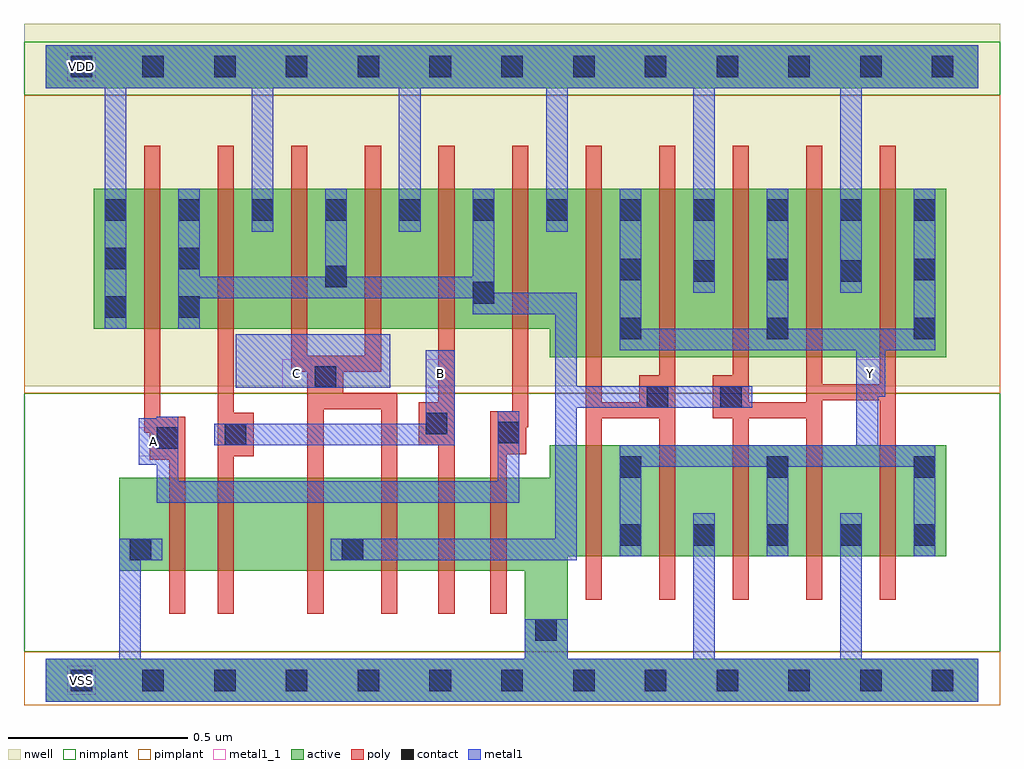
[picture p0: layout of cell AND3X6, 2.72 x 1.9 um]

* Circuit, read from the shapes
.subckt AND3X6 A B C VDD VSS Y
M1 n1 A VSS VSS nfet w=0.26u l=0.045u
M2 n2 B n1 VSS nfet w=0.26u l=0.045u
M3 n3 C n2 VSS nfet w=0.26u l=0.045u
M4 n4 C n3 VSS nfet w=0.26u l=0.045u
M5 n5 B n4 VSS nfet w=0.26u l=0.045u
M6 VSS A n5 VSS nfet w=0.26u l=0.045u
M7 Y n3 VSS VSS nfet w=0.31u l=0.045u m=5
M8 n3 A VDD VDD pfet w=0.39u l=0.045u m=2
M9 VDD B n3 VDD pfet w=0.39u l=0.045u m=2
M10 n3 C VDD VDD pfet w=0.39u l=0.045u m=2
M11 Y n3 VDD VDD pfet w=0.47u l=0.045u m=5
.ends

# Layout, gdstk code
import gdstk
lib = gdstk.Library(unit=1e-6, precision=5e-10)
def R(c, l, rs):  # rectangles x0, y0, x1, y1
    for r in rs: c.add(gdstk.rectangle(r[:2], r[2:], *l))
def A(c, l, x, y, w, h, nx, ny, dx, dy):  # array of equal rectangles
    R(c, l, [(x+i*dx, y+j*dy, x+i*dx+w, y+j*dy+h) for i in range(nx) for j in range(ny)])
def P(c, l, *ps):  # polygons
    for p in ps: c.add(gdstk.Polygon(p, *l))
active = (1, 0)
nwell = (2, 0)
poly = (3, 0)
nimplant = (4, 0)
pimplant = (5, 0)
contact = (6, 0)
metal1 = (7, 0)
metal1_1 = (7, 1)

and3x6 = lib.new_cell('AND3X6')
R(and3x6, active, [(0,1.65,2.6,1.77)])
P(and3x6, active, [(0.135,1.37),(2.51,1.37),(2.51,0.9),(1.405,0.9),(1.405,0.98),(0.135,0.98)],
  [(1.405,0.655),(2.51,0.655),(2.51,0.345),(1.455,0.345),(1.455,0.06),(2.6,0.06),(2.6,-0.06),(0,-0.06),(0,0.06),(1.335,0.06),(1.335,0.305),(0.205,0.305),(0.205,0.565),(1.405,0.565)])
R(and3x6, nwell, [(-0.06,0.82,2.66,1.83)])
P(and3x6, poly, [(0.275,1.49),(0.32,1.49),(0.32,0.735),(0.39,0.735),(0.39,0.185),(0.345,0.185),(0.345,0.615),(0.29,0.615),(0.29,0.69),(0.275,0.69)],
  [(0.48,1.49),(0.525,1.49),(0.525,0.745),(0.58,0.745),(0.58,0.625),(0.525,0.625),(0.525,0.185),(0.48,0.185)],
  [(0.685,1.49),(0.73,1.49),(0.73,0.905),(0.89,0.905),(0.89,1.49),(0.935,1.49),(0.935,0.86),(0.83,0.86),(0.83,0.8),(0.98,0.8),(0.98,0.185),(0.935,0.185),(0.935,0.755),(0.775,0.755),(0.775,0.185),(0.73,0.185),(0.73,0.86),(0.685,0.86)],
  [(1.095,1.49),(1.14,1.49),(1.14,0.185),(1.095,0.185),(1.095,0.655),(1.04,0.655),(1.04,0.775),(1.095,0.775)],
  [(1.3,1.49),(1.345,1.49),(1.345,0.705),(1.34,0.705),(1.34,0.63),(1.285,0.63),(1.285,0.185),(1.24,0.185),(1.24,0.75),(1.3,0.75)],
  [(1.505,1.49),(1.55,1.49),(1.55,0.775),(1.655,0.775),(1.655,0.85),(1.71,0.85),(1.71,1.49),(1.755,1.49),(1.755,0.225),(1.71,0.225),(1.71,0.73),(1.55,0.73),(1.55,0.225),(1.505,0.225)],
  [(1.915,1.49),(1.96,1.49),(1.96,0.775),(2.12,0.775),(2.12,1.49),(2.165,1.49),(2.165,0.825),(2.325,0.825),(2.325,1.49),(2.37,1.49),(2.37,0.225),(2.325,0.225),(2.325,0.78),(2.165,0.78),(2.165,0.225),(2.12,0.225),(2.12,0.73),(1.96,0.73),(1.96,0.225),(1.915,0.225),(1.915,0.73),(1.86,0.73),(1.86,0.85),(1.915,0.85)])
R(and3x6, nimplant, [(-0.06,0.08,2.66,0.8), (-0.06,1.63,2.66,1.78)])
R(and3x6, pimplant, [(-0.06,-0.07,2.66,0.08), (-0.06,0.8,2.66,1.63)])
A(and3x6, contact, 0.07, -0.03, 0.06, 0.06, 13, 2, 0.2, 1.71)
A(and3x6, contact, 1.6, 0.375, 0.06, 0.06, 5, 1, 0.205, 0)
A(and3x6, contact, 1.6, 0.565, 0.06, 0.06, 3, 2, 0.41, 0.385)
A(and3x6, contact, 1.6, 1.115, 0.06, 0.06, 3, 1, 0.41, 0)
A(and3x6, contact, 0.165, 1.28, 0.06, 0.06, 12, 1, 0.205, 0)
R(and3x6, contact, [(1.365,0.11,1.425,0.17), (0.235,0.335,0.295,0.395), (0.825,0.335,0.885,0.395), (0.31,0.645,0.37,0.705), (0.5,0.655,0.56,0.715), (1.26,0.66,1.32,0.72), (1.06,0.685,1.12,0.745), (1.675,0.76,1.735,0.82), (1.88,0.76,1.94,0.82), (0.75,0.815,0.81,0.875), (0.165,1.01,0.225,1.07), (0.37,1.01,0.43,1.07), (1.19,1.05,1.25,1.11), (0.78,1.095,0.84,1.155), (1.805,1.11,1.865,1.17), (2.215,1.11,2.275,1.17), (0.165,1.145,0.225,1.205), (0.37,1.145,0.43,1.205)])
R(and3x6, metal1, [(0.53,0.815,0.96,0.965)])
P(and3x6, metal1, [(0,1.77),(2.6,1.77),(2.6,1.65),(2.275,1.65),(2.275,1.08),(2.215,1.08),(2.215,1.65),(1.865,1.65),(1.865,1.08),(1.805,1.08),(1.805,1.65),(1.455,1.65),(1.455,1.25),(1.395,1.25),(1.395,1.65),(1.045,1.65),(1.045,1.25),(0.985,1.25),(0.985,1.65),(0.635,1.65),(0.635,1.25),(0.575,1.25),(0.575,1.65),(0.225,1.65),(0.225,0.98),(0.165,0.98),(0.165,1.65),(0,1.65)],
  [(0.37,1.37),(0.43,1.37),(0.43,1.125),(0.78,1.125),(0.78,1.37),(0.84,1.37),(0.84,1.125),(1.19,1.125),(1.19,1.37),(1.25,1.37),(1.25,1.08),(1.48,1.08),(1.48,0.82),(1.97,0.82),(1.97,0.76),(1.48,0.76),(1.48,0.335),(0.795,0.335),(0.795,0.395),(1.42,0.395),(1.42,1.02),(1.19,1.02),(1.19,1.065),(0.43,1.065),(0.43,0.98),(0.37,0.98)],
  [(1.6,1.37),(1.66,1.37),(1.66,0.98),(2.01,0.98),(2.01,1.37),(2.07,1.37),(2.07,0.98),(2.42,0.98),(2.42,1.37),(2.48,1.37),(2.48,0.92),(2.34,0.92),(2.34,0.79),(2.32,0.79),(2.32,0.655),(2.48,0.655),(2.48,0.345),(2.42,0.345),(2.42,0.595),(2.07,0.595),(2.07,0.345),(2.01,0.345),(2.01,0.595),(1.66,0.595),(1.66,0.345),(1.6,0.345),(1.6,0.655),(2.26,0.655),(2.26,0.92),(1.6,0.92)],
  [(1.06,0.92),(1.14,0.92),(1.14,0.655),(0.47,0.655),(0.47,0.715),(1.06,0.715)],
  [(0.31,0.735),(0.37,0.735),(0.37,0.555),(1.26,0.555),(1.26,0.75),(1.32,0.75),(1.32,0.495),(0.31,0.495),(0.31,0.6),(0.26,0.6),(0.26,0.73),(0.31,0.73)],
  [(0.205,0.395),(0.325,0.395),(0.325,0.335),(0.265,0.335),(0.265,0.06),(1.335,0.06),(1.335,0.17),(1.455,0.17),(1.455,0.06),(1.805,0.06),(1.805,0.465),(1.865,0.465),(1.865,0.06),(2.215,0.06),(2.215,0.465),(2.275,0.465),(2.275,0.06),(2.6,0.06),(2.6,-0.06),(0,-0.06),(0,0.06),(0.205,0.06)])
R(and3x6, metal1_1, [(0.06,-0.04,0.14,0.04), (0.26,0.625,0.34,0.705), (0.66,0.815,0.74,0.895), (1.06,0.815,1.14,0.895), (2.26,0.815,2.34,0.895), (0.06,1.67,0.14,1.75)])
and3x6.add(gdstk.Label('Y', (2.3,0.855), layer=7, texttype=1))
and3x6.add(gdstk.Label('C', (0.7,0.855), layer=7, texttype=1))
and3x6.add(gdstk.Label('B', (1.1,0.855), layer=7, texttype=1))
and3x6.add(gdstk.Label('A', (0.3,0.665), layer=7, texttype=1))
and3x6.add(gdstk.Label('VDD', (0.1,1.71), layer=7, texttype=1))
and3x6.add(gdstk.Label('VSS', (0.1,0), layer=7, texttype=1))
and3x6.add(gdstk.Label('AND3X6', (0,0), layer=63, texttype=0))

lib.write_gds('AND3X6.gds')
